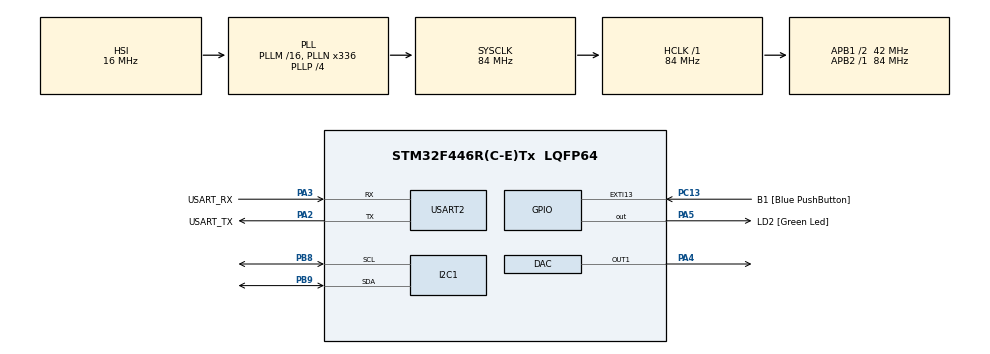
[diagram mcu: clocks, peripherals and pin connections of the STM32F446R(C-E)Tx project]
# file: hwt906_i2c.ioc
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I2C1.NoStretchMode=I2C_NOSTRETCH_ENABLE
Mcu.Family=STM32F4
Mcu.Name=STM32F446R(C-E)Tx
Mcu.Package=LQFP64
NVIC.I2C1_ER_IRQn=true\:0\:0\:false\:false\:true\:true\:true\:true
NVIC.I2C1_EV_IRQn=true\:0\:0\:false\:false\:true\:true\:true\:true
NVIC.PriorityGroup=NVIC_PRIORITYGROUP_0
PA13.GPIO_Label=TMS
PA13.Mode=Serial_Wire
PA13.Signal=SYS_JTMS-SWDIO
PA14.GPIO_Label=TCK
PA14.Mode=Serial_Wire
PA14.Signal=SYS_JTCK-SWCLK
PA2.GPIO_Label=USART_TX
PA2.Mode=Asynchronous
PA2.Signal=USART2_TX
PA3.GPIO_Label=USART_RX
PA3.Mode=Asynchronous
PA3.Signal=USART2_RX
PA4.Signal=COMP_DAC1_group
PA5.GPIO_Label=LD2 [Green Led]
PA5.Signal=GPIO_Output
PB3.GPIO_Label=SWO
PB3.Signal=SYS_JTDO-SWO
PB8.Mode=I2C
PB8.Signal=I2C1_SCL
PB9.Mode=I2C
PB9.Signal=I2C1_SDA
PC13.GPIO_Label=B1 [Blue PushButton]
PC13.GPIO_ModeDefaultEXTI=GPIO_MODE_IT_FALLING
PC13.Signal=GPXTI13
PC14-OSC32_IN.Mode=LSE-External-Oscillator
PC14-OSC32_IN.Signal=RCC_OSC32_IN
PC15-OSC32_OUT.Mode=LSE-External-Oscillator
PC15-OSC32_OUT.Signal=RCC_OSC32_OUT
PH0-OSC_IN.Mode=HSE-External-Oscillator
PH0-OSC_IN.Signal=RCC_OSC_IN
PH1-OSC_OUT.Mode=HSE-External-Oscillator
PH1-OSC_OUT.Signal=RCC_OSC_OUT
ProjectManager.HeapSize=0x200
ProjectManager.StackSize=0x400
ProjectManager.TargetToolchain=CMake
RCC.48MHZClocksFreq_Value=84000000
RCC.AHBFreq_Value=84000000
RCC.APB1CLKDivider=RCC_HCLK_DIV2
RCC.APB1Freq_Value=42000000
RCC.APB1TimFreq_Value=84000000
RCC.APB2Freq_Value=84000000
RCC.APB2TimFreq_Value=84000000
RCC.CortexFreq_Value=84000000
RCC.FLatency-AdvancedSettings=FLASH_LATENCY_2
RCC.HCLKFreq_Value=84000000
RCC.HSE_VALUE=8000000
RCC.HSI_VALUE=16000000
RCC.PLLN=336
RCC.PLLP=RCC_PLLP_DIV4
RCC.SYSCLKFreq_VALUE=84000000
RCC.SYSCLKSource=RCC_SYSCLKSOURCE_PLLCLK
RCC.USBFreq_Value=168000000
RCC.VCOOutputFreq_Value=336000000
SH.COMP_DAC1_group.0=DAC_OUT1,DAC_OUT1
USART2.VirtualMode=VM_ASYNC
board=NUCLEO-F446RE

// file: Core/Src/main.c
/* USER CODE BEGIN Header */
/**
  ******************************************************************************
  * @file           : main.c
  * @brief          : Main program body
  ******************************************************************************
  * @attention
  *
  * Copyright (c) 2025 STMicroelectronics.
  * All rights reserved.
  *
  * This software is licensed under terms that can be found in the LICENSE file
  * in the root directory of this software component.
  * If no LICENSE file comes with this software, it is provided AS-IS.
  *
  ******************************************************************************
  */
/* USER CODE END Header */
#include "main.h"

/* USER CODE BEGIN Includes */
#include "stdio.h"
#include <inttypes.h>
/* USER CODE END Includes */

/* USER CODE BEGIN PD */
#define HWT906_ADDR     (0x50 << 1) // I2C 从机地址（7位地址 0x50 左移一位）
#define REG_ACC_Z_LOW   0x36        // Z轴加速度数据寄存器（低8位）
/* USER CODE END PD */

DAC_HandleTypeDef hdac;

I2C_HandleTypeDef hi2c1;

UART_HandleTypeDef huart2;

/* USER CODE BEGIN PV */
uint8_t z_data[2];      // 存放 I2C 读取的 2 个原始字节
short z_raw;            // 合成后的 16 位整数
float z_acc_g;          // 最终处理后的加速度值 (g)
uint32_t dac_val;       // 映射后的 DAC 数值 (0-4095)

// --- 电梯应用新增变量 ---
float z_offset = 0.0f;  // 存储电梯静止时的重力偏移量，用于“归零”
float range_g = 0.5f;   // 监控的加速度量程（±0.5g 对应 4-20mA）
/* USER CODE END PV */

void SystemClock_Config(void);
static void MX_GPIO_Init(void);
static void MX_USART2_UART_Init(void);
static void MX_I2C1_Init(void);
static void MX_DAC_Init(void);

/* USER CODE BEGIN 0 */
// 将 printf 重定向到串口 2 (huart2)，以便在电脑上查看
int __io_putchar(int ch) {
    HAL_UART_Transmit(&huart2, (uint8_t *)&ch, 1, 0xFFFF);
    return ch;
}
/* USER CODE END 0 */

int main(void)
{

  /* MCU Configuration--------------------------------------------------------*/

  /* Reset of all peripherals, Initializes the Flash interface and the Systick. */
  HAL_Init();

  /* Configure the system clock */
  SystemClock_Config();

  /* Initialize all configured peripherals */
  MX_GPIO_Init();
  MX_USART2_UART_Init();
  MX_I2C1_Init();
  MX_DAC_Init();
  /* USER CODE BEGIN 2 */
  HAL_DAC_Start(&hdac, DAC_CHANNEL_1); // 开启 DAC 通道 1
  printf("Elevator Monitor Ready. Press B1 to Zero.\r\n");
  /* USER CODE END 2 */

  /* Infinite loop */
  /* USER CODE BEGIN WHILE */
  while (1)
  {
    // 1. 一键校准功能：如果电梯静止时不是0g，按下蓝色按钮归零
    if (HAL_GPIO_ReadPin(GPIOC, GPIO_PIN_13) == GPIO_PIN_RESET)
    {
        z_offset = (float)z_raw / 32768.0f * 16.0f; // 假设硬件量程为16g
        printf(">>>> 已校准：当前重力状态设为 0点 <<<<\r\n");
        HAL_Delay(500);
    }

    // 2. 读取 HWT906 原始数据
    if (HAL_I2C_Mem_Read(&hi2c1, HWT906_ADDR, REG_ACC_Z_LOW, I2C_MEMADD_SIZE_8BIT, z_data, 2, 100) == HAL_OK)
    {
        // 合成原始数据
        z_raw = (short)(z_data[1] << 8 | z_data[0]);

        // 换算加速度 (g)，减去校准偏移量
        // 建议使用 16.0f，因为 HWT906 默认通常是 16g 量程
        z_acc_g = ((float)z_raw / 32768.0f * 16.0f) - z_offset;

        // 3. 映射到 DAC (4-20mA)
        // 设定监控范围：假设电梯我们关心的是 ±0.5g 范围内的振动
        // -0.5g -> 0 (4mA) | 0g -> 2048 (12mA) | +0.5g -> 4095 (20mA)
        float range = 0.5f;
        float temp = (z_acc_g + range) / (2.0f * range) * 4095.0f;

        // 限幅保护
        if(temp > 4095.0f) temp = 4095.0f;
        if(temp < 0.0f)    temp = 0.0f;

        dac_val = (uint32_t)temp;

        // 4. 执行输出
        HAL_DAC_SetValue(&hdac, DAC_CHANNEL_1, DAC_ALIGN_12B_R, dac_val);

        // 5. 打印调试信息
        printf("Acc:%.3fg | DAC:%" PRIu32 " | Est_Curr:%.2fmA\r\n",
                z_acc_g, dac_val, 4.0f + (temp/4095.0f)*16.0f);
    }
    else
    {
        printf("I2C Error!\r\n");
    }

    HAL_Delay(20); // 将延迟减小到20ms，提高电梯振动监测的灵敏度
    /* USER CODE END WHILE */

  }
}

void SystemClock_Config(void)
{
  RCC_OscInitTypeDef RCC_OscInitStruct = {0};
  RCC_ClkInitTypeDef RCC_ClkInitStruct = {0};

  /** Configure the main internal regulator output voltage
  */
  __HAL_RCC_PWR_CLK_ENABLE();
  __HAL_PWR_VOLTAGESCALING_CONFIG(PWR_REGULATOR_VOLTAGE_SCALE3);

  /** Initializes the RCC Oscillators according to the specified parameters
  * in the RCC_OscInitTypeDef structure.
  */
  RCC_OscInitStruct.OscillatorType = RCC_OSCILLATORTYPE_HSI;
  RCC_OscInitStruct.HSIState = RCC_HSI_ON;
  RCC_OscInitStruct.HSICalibrationValue = RCC_HSICALIBRATION_DEFAULT;
  RCC_OscInitStruct.PLL.PLLState = RCC_PLL_ON;
  RCC_OscInitStruct.PLL.PLLSource = RCC_PLLSOURCE_HSI;
  RCC_OscInitStruct.PLL.PLLM = 16;
  RCC_OscInitStruct.PLL.PLLN = 336;
  RCC_OscInitStruct.PLL.PLLP = RCC_PLLP_DIV4;
  RCC_OscInitStruct.PLL.PLLQ = 2;
  RCC_OscInitStruct.PLL.PLLR = 2;
  if (HAL_RCC_OscConfig(&RCC_OscInitStruct) != HAL_OK)
  {
    Error_Handler();
  }

  /** Initializes the CPU, AHB and APB buses clocks
  */
  RCC_ClkInitStruct.ClockType = RCC_CLOCKTYPE_HCLK|RCC_CLOCKTYPE_SYSCLK
                              |RCC_CLOCKTYPE_PCLK1|RCC_CLOCKTYPE_PCLK2;
  RCC_ClkInitStruct.SYSCLKSource = RCC_SYSCLKSOURCE_PLLCLK;
  RCC_ClkInitStruct.AHBCLKDivider = RCC_SYSCLK_DIV1;
  RCC_ClkInitStruct.APB1CLKDivider = RCC_HCLK_DIV2;
  RCC_ClkInitStruct.APB2CLKDivider = RCC_HCLK_DIV1;

  if (HAL_RCC_ClockConfig(&RCC_ClkInitStruct, FLASH_LATENCY_2) != HAL_OK)
  {
    Error_Handler();
  }
}

static void MX_DAC_Init(void)
{

  DAC_ChannelConfTypeDef sConfig = {0};

  /** DAC Initialization
  */
  hdac.Instance = DAC;
  if (HAL_DAC_Init(&hdac) != HAL_OK)
  {
    Error_Handler();
  }

  /** DAC channel OUT1 config
  */
  sConfig.DAC_Trigger = DAC_TRIGGER_NONE;
  sConfig.DAC_OutputBuffer = DAC_OUTPUTBUFFER_ENABLE;
  if (HAL_DAC_ConfigChannel(&hdac, &sConfig, DAC_CHANNEL_1) != HAL_OK)
  {
    Error_Handler();
  }

}

static void MX_I2C1_Init(void)
{

  hi2c1.Instance = I2C1;
  hi2c1.Init.ClockSpeed = 100000;
  hi2c1.Init.DutyCycle = I2C_DUTYCYCLE_2;
  hi2c1.Init.OwnAddress1 = 0;
  hi2c1.Init.AddressingMode = I2C_ADDRESSINGMODE_7BIT;
  hi2c1.Init.DualAddressMode = I2C_DUALADDRESS_DISABLE;
  hi2c1.Init.OwnAddress2 = 0;
  hi2c1.Init.GeneralCallMode = I2C_GENERALCALL_DISABLE;
  hi2c1.Init.NoStretchMode = I2C_NOSTRETCH_ENABLE;
  if (HAL_I2C_Init(&hi2c1) != HAL_OK)
  {
    Error_Handler();
  }

}

static void MX_USART2_UART_Init(void)
{

  huart2.Instance = USART2;
  huart2.Init.BaudRate = 115200;
  huart2.Init.WordLength = UART_WORDLENGTH_8B;
  huart2.Init.StopBits = UART_STOPBITS_1;
  huart2.Init.Parity = UART_PARITY_NONE;
  huart2.Init.Mode = UART_MODE_TX_RX;
  huart2.Init.HwFlowCtl = UART_HWCONTROL_NONE;
  huart2.Init.OverSampling = UART_OVERSAMPLING_16;
  if (HAL_UART_Init(&huart2) != HAL_OK)
  {
    Error_Handler();
  }

}

static void MX_GPIO_Init(void)
{
  GPIO_InitTypeDef GPIO_InitStruct = {0};

  /* GPIO Ports Clock Enable */
  __HAL_RCC_GPIOC_CLK_ENABLE();
  __HAL_RCC_GPIOH_CLK_ENABLE();
  __HAL_RCC_GPIOA_CLK_ENABLE();
  __HAL_RCC_GPIOB_CLK_ENABLE();

  /*Configure GPIO pin Output Level */
  HAL_GPIO_WritePin(LD2_GPIO_Port, LD2_Pin, GPIO_PIN_RESET);

  /*Configure GPIO pin : B1_Pin */
  GPIO_InitStruct.Pin = B1_Pin;
  GPIO_InitStruct.Mode = GPIO_MODE_IT_FALLING;
  GPIO_InitStruct.Pull = GPIO_NOPULL;
  HAL_GPIO_Init(B1_GPIO_Port, &GPIO_InitStruct);

  /*Configure GPIO pin : LD2_Pin */
  GPIO_InitStruct.Pin = LD2_Pin;
  GPIO_InitStruct.Mode = GPIO_MODE_OUTPUT_PP;
  GPIO_InitStruct.Pull = GPIO_NOPULL;
  GPIO_InitStruct.Speed = GPIO_SPEED_FREQ_LOW;
  HAL_GPIO_Init(LD2_GPIO_Port, &GPIO_InitStruct);

}

void Error_Handler(void)
{
  __disable_irq();
  while (1)
  {
  }
}
